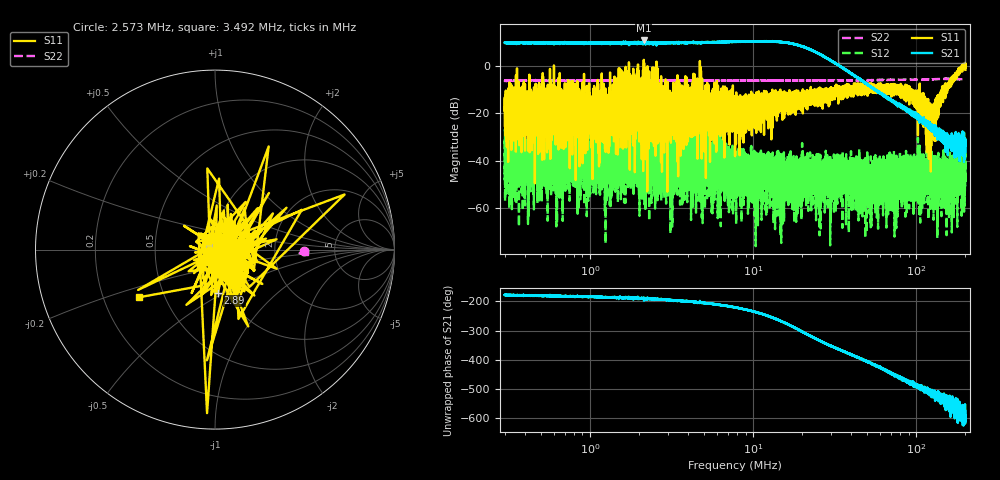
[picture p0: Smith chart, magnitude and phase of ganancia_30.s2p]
# Hz S DB R 50
! CMT, M5065, 19127446, 24.2.4/2
! Date: 11/1/2024 3:30:14 PM
! Data: Format (Calibration Info)
! Freq	S11:dB/Ang(F2)	S21:dB/Ang(F2)	S12:dB/Ang(F2)	S22:dB/Ang(F2)
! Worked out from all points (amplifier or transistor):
!   9000 points, 300 kHz to 200 MHz, reference 50 ohm
!   highest |S21| = 11.1 dB at 2.138 MHz (marker M1)
!   |S21| within 3 dB of that: start of sweep to 20.74 MHz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
!   unconditionally stable (mu >= 1): 2.597 MHz to 4.718 MHz; 4.793 MHz to 189.6 MHz; 190.4 MHz to 191.5 MHz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
!   at 886.8 kHz: K = 7.39, MAG = 11.2 dB, |S12| = -35.9 dB
!   at 7.749 MHz: K = 10.70, MAG = 12.0 dB, |S12| = -40.0 dB
!   at 200 MHz: K = 1332.24, MAG = -26.5 dB, |S12| = -49.0 dB
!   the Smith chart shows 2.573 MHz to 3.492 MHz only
!   S11 on the Smith chart (normalised r, x): 2.573 MHz: 1.05, +0.06; 2.89 MHz: 0.92, -0.47; 3.492 MHz: 0.36, -0.25
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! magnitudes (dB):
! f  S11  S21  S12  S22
! 300 kHz  -18.7  10.1  -31.5  -5.9
! 328.4 kHz  -19.8  10.0  -47.2  -6.0
! 507.3 kHz  -16.2  10.0  -57.7  -6.1
! 664.7 kHz  -12.8  9.9  -42.3  -6.1
! 787.1 kHz  -18.9  9.9  -33.2  -6.1
! 886.8 kHz  -15.7  9.9  -35.9  -6.0
! 1.778 MHz  -17.9  10.1  -30.1  -6.0
! 2.138 MHz  2.8  11.1  -30.6  -5.9
! 2.573 MHz  -28.9  10.0  -43.3  -6.0
! 2.621 MHz  -16.3  10.0  -28.3  -6.1
! 2.89 MHz  -12.4  10.2  -39.7  -6.0
! 3.492 MHz  -6.0  10.5  -42.9  -6.0
! 4.549 MHz  -21.5  10.1  -40.5  -6.0
! 7.749 MHz  -16.2  10.6  -40.0  -6.0
! 12.5 MHz  -17.8  10.6  -47.7  -6.0
! 17.57 MHz  -12.1  9.7  -56.4  -6.0
! 22.91 MHz  -12.4  6.9  -39.1  -6.0
! 67.71 MHz  -9.3  -13.6  -43.6  -5.7
! 92.11 MHz  -12.1  -18.8  -42.0  -5.6
! 122.5 MHz  -24.4  -25.1  -54.6  -5.5
! 145.2 MHz  -8.6  -30.2  -52.0  -5.3
! 200 MHz  -1.4  -33.4  -49.0  -5.4
